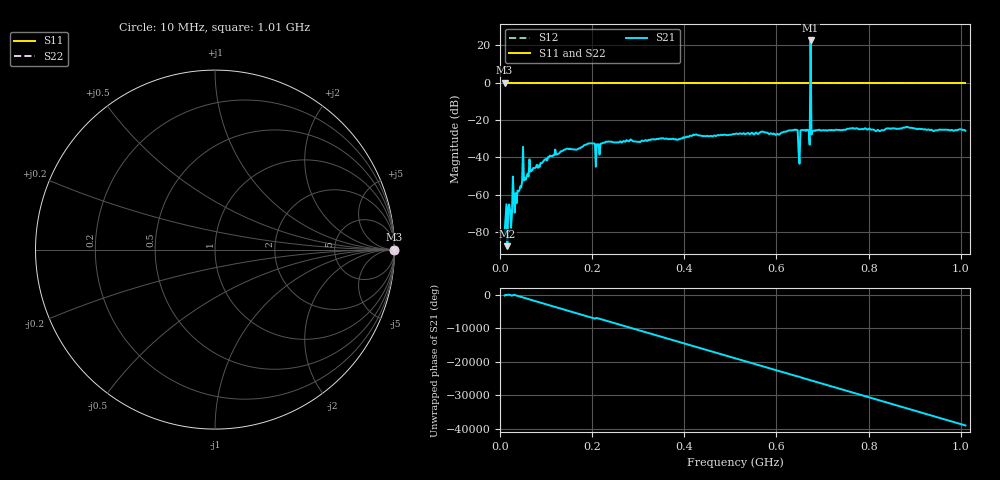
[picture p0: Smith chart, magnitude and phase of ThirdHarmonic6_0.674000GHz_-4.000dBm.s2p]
! 8/15/2025 10:26:29 PM
! C:\ANRITSUVNA\TEMP\TEMP.S2P
! CHANNEL.1
! TR.MEASUREMENT
! RAW.DATA
! RF.CORRECTION.OFF
! AVERAGING.OFF
! IF.BANDWIDTH: 5KHZ
! SWEEPTYPE:  FREQ.SWEEP(Linear)
! Reference Plane Port Info
! PORT:  PORT1  PORT2
! DISTANCE:  0  m  0  m
! TIME:  0  s  0  s
! PHASE.OFFSET:  0  deg.  0  deg.
! LOSS:  0  dB  0  dB
! REF.LOSS:  0  dB  0  dB
! REF.FREQ:  0  Hz  0  Hz
! Power Info
! POWER:  -20  dBm  -20  dBm
! EFF.POWER:  -20  dBm  -20  dBm
! SOURCE.ATTEN:  0  dB  0  dB
! TEST.ATTEN:  0  dB  0  dB
# GHZ S RI R 50.0
! FREQ.GHZ  S11RE  S11IM  S21RE  S21IM  S12RE  S12IM  S22RE  S22IM
!; PortSelection: Port_12
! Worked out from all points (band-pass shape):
!   501 points, 10 MHz to 1.01 GHz, reference 50 ohm
!   highest |S21| = 22.56 dB at 674 MHz (marker M1); lowest = -87.4 dB at 16 MHz (marker M2)
!   |S21| within 3 dB of the highest: 673.8923 MHz to 674.1193 MHz (226.9 kHz wide, 0.0337 % of centre)
!   lowest |S11| = 0.0 dB at 10 MHz (marker M3)
!   |S11| at or under -10 dB: nowhere
!   |S22| runs from 0.0 to 0.0 dB; largest |S21 - S12| = 12
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0.01  1 0  -6.6e-05 -7.44e-05  1 0  1 0
0.016  1 0  3.91e-05 -1.7e-05  1 0  1 0
0.02  1 0  4.22e-05 0.000555  1 0  1 0
0.054  1 0  -0.00285 -0.000398  1 0  1 0
0.056  1 0  -0.000689 0.00245  1 0  1 0
0.116  1 0  -0.0117 0.00104  1 0  1 0
0.178  1 0  -0.0188 -0.00396  1 0  1 0
0.202  1 0  0.00923 -0.0218  1 0  1 0
0.212  1 0  -0.00716 -0.0214  1 0  1 0
0.234  1 0  0.00191 0.0261  1 0  1 0
0.344  1 0  0.0299 -0.00812  1 0  1 0
0.51  1 0  -0.0386 0.0178  1 0  1 0
0.642  1 0  -0.0213 -0.0498  1 0  1 0
0.65  1 0  0.00674 0.00104  1 0  1 0
0.656  1 0  0.0404 0.0369  1 0  1 0
0.668  1 0  0.00657 -0.0539  1 0  1 0
0.67  1 0  -0.0503 -0.0162  1 0  1 0
0.674  1 0  13.43 -0.2144  1 0  1 0
0.678  1 0  -0.0293 -0.0411  1 0  1 0
0.68  1 0  -0.0471 0.0215  1 0  1 0
0.844  1 0  0.0501 0.0334  1 0  1 0
1.01  1 0  -0.0518 -0.00282  1 0  1 0
